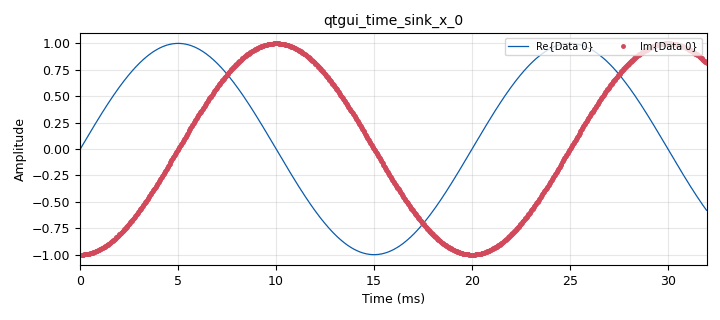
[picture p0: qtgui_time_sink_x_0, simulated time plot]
<?xml version='1.0' encoding='utf-8'?>
<?grc format='1' created='3.7.10'?>
<flow_graph>
<block>
<key>options</key>
<param><key>id</key><value>top_block</value></param>
<param><key>generate_options</key><value>qt_gui</value></param>
</block>
<block>
<key>variable_qtgui_range</key>
<param><key>id</key><value>amplitude</value></param>
<param><key>value</key><value>5</value></param>
<param><key>orient</key><value>Qt.Horizontal</value></param>
<param><key>start</key><value>1</value></param>
<param><key>step</key><value>1</value></param>
<param><key>stop</key><value>15</value></param>
<param><key>widget</key><value>dial</value></param>
</block>
<block>
<key>variable_qtgui_range</key>
<param><key>id</key><value>frequency</value></param>
<param><key>value</key><value>50</value></param>
<param><key>orient</key><value>Qt.Horizontal</value></param>
<param><key>start</key><value>1</value></param>
<param><key>step</key><value>1</value></param>
<param><key>stop</key><value>1600</value></param>
<param><key>widget</key><value>dial</value></param>
</block>
<block>
<key>variable</key>
<param><key>id</key><value>samp_rate</value></param>
<param><key>value</key><value>32000</value></param>
</block>
<block>
<key>analog_sig_source_x</key>
<param><key>id</key><value>analog_sig_source_x_0</value></param>
<param><key>amp</key><value>1</value></param>
<param><key>freq</key><value>frequency</value></param>
<param><key>offset</key><value>0</value></param>
<param><key>type</key><value>complex</value></param>
<param><key>samp_rate</key><value>samp_rate</value></param>
<param><key>waveform</key><value>analog.GR_SIN_WAVE</value></param>
</block>
<block>
<key>qtgui_time_sink_x</key>
<param><key>id</key><value>qtgui_time_sink_x_0</value></param>
<param><key>autoscale</key><value>True</value></param>
<param><key>ctrlpanel</key><value>True</value></param>
<param><key>color1</key><value>"blue"</value></param>
<param><key>label1</key><value></value></param>
<param><key>color2</key><value>"red"</value></param>
<param><key>label2</key><value></value></param>
<param><key>style2</key><value>0</value></param>
<param><key>width2</key><value>0</value></param>
<param><key>size</key><value>1024</value></param>
<param><key>srate</key><value>samp_rate</value></param>
<param><key>tr_mode</key><value>qtgui.TRIG_MODE_AUTO</value></param>
<param><key>type</key><value>complex</value></param>
</block>
<connection><source_block_id>analog_sig_source_x_0</source_block_id><sink_block_id>qtgui_time_sink_x_0</sink_block_id><source_key>0</source_key><sink_key>0</sink_key></connection>
</flow_graph>
